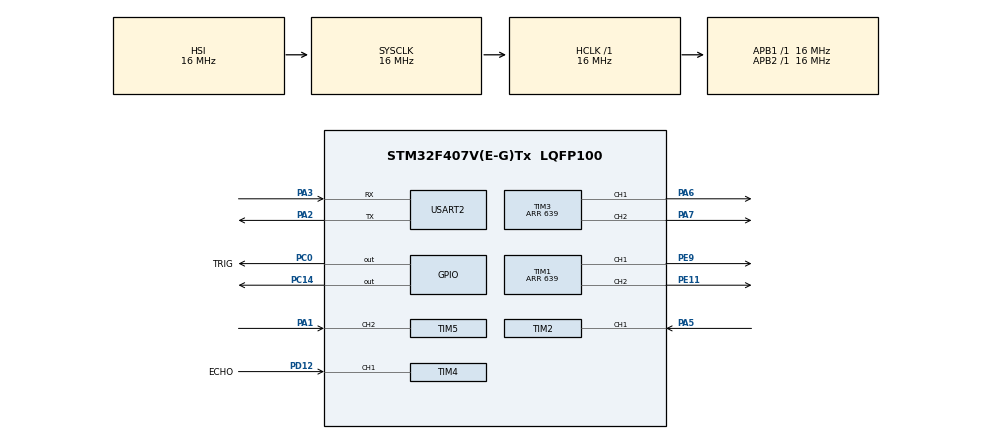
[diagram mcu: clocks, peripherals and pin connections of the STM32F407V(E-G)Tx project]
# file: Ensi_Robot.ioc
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Mcu.Family=STM32F4
Mcu.Name=STM32F407V(E-G)Tx
Mcu.Package=LQFP100
NVIC.PriorityGroup=NVIC_PRIORITYGROUP_4
NVIC.TIM2_IRQn=true\:0\:0\:false\:false\:true\:true\:true\:true
NVIC.TIM4_IRQn=true\:0\:0\:false\:false\:true\:true\:true\:true
NVIC.TIM5_IRQn=true\:0\:0\:false\:false\:true\:true\:true\:true
NVIC.TIM6_DAC_IRQn=true\:0\:0\:false\:false\:true\:true\:true\:true
PA1.Signal=S_TIM5_CH2
PA13.Mode=Serial_Wire
PA13.Signal=SYS_JTMS-SWDIO
PA14.Mode=Serial_Wire
PA14.Signal=SYS_JTCK-SWCLK
PA2.Mode=Asynchronous
PA2.Signal=USART2_TX
PA3.Mode=Asynchronous
PA3.Signal=USART2_RX
PA5.Signal=S_TIM2_CH1_ETR
PA6.Signal=S_TIM3_CH1
PA7.Signal=S_TIM3_CH2
PC0.GPIO_Label=TRIG
PC0.Signal=GPIO_Output
PC14-OSC32_IN.Signal=GPIO_Output
PD12.GPIO_Label=ECHO
PD12.Signal=S_TIM4_CH1
PE11.Signal=S_TIM1_CH2
PE5.Signal=S_TIM9_CH1
PE9.Signal=S_TIM1_CH1
ProjectManager.HeapSize=0x200
ProjectManager.StackSize=0x400
ProjectManager.TargetToolchain=STM32CubeIDE
RCC.AHBFreq_Value=16000000
RCC.APB1Freq_Value=16000000
RCC.APB2Freq_Value=16000000
RCC.CortexFreq_Value=16000000
RCC.HSE_VALUE=25000000
RCC.HSI_VALUE=16000000
RCC.LSE_VALUE=32768
RCC.SYSCLKFreq_VALUE=16000000
RCC.VCOOutputFreq_Value=192000000
SH.S_TIM1_CH1.0=TIM1_CH1,PWM Generation1 CH1
SH.S_TIM1_CH2.0=TIM1_CH2,PWM Generation2 CH2
SH.S_TIM2_CH1_ETR.0=TIM2_CH1,Input_Capture1_from_TI1
SH.S_TIM2_CH1_ETR.1=TIM2_CH1,TriggerSource_TI1FP1
SH.S_TIM3_CH1.0=TIM3_CH1,PWM Generation1 CH1
SH.S_TIM3_CH2.0=TIM3_CH2,PWM Generation2 CH2
SH.S_TIM4_CH1.0=TIM4_CH1,Input_Capture1_from_TI1
SH.S_TIM5_CH2.0=TIM5_CH2,TriggerSource_TI2FP2
SH.S_TIM5_CH2.1=TIM5_CH2,Input_Capture2_from_TI2
SH.S_TIM9_CH1.0=TIM9_CH1
TIM1.Channel-PWM\ Generation1\ CH1=TIM_CHANNEL_1
TIM1.Channel-PWM\ Generation2\ CH2=TIM_CHANNEL_2
TIM1.Period=639
TIM2.Channel-Input_Capture1_from_TI1=TIM_CHANNEL_1
TIM3.Channel-PWM\ Generation1\ CH1=TIM_CHANNEL_1
TIM3.Channel-PWM\ Generation2\ CH2=TIM_CHANNEL_2
TIM3.Period=639
TIM4.Channel-Input_Capture1_from_TI1=TIM_CHANNEL_1
TIM4.ICFilter_CH1=4
TIM4.ICPolarity_CH1=TIM_INPUTCHANNELPOLARITY_BOTHEDGE
TIM4.Period=0xffff-1
TIM4.Prescaler=16-1
TIM5.Channel-Input_Capture2_from_TI2=TIM_CHANNEL_2
TIM5.Period=4294967295
TIM6.Period=16000-1
TIM8.Period=0xffff-1
TIM8.Prescaler=16-1
USART2.VirtualMode=VM_ASYNC
VP_TIM1_VS_ClockSourceINT.Mode=Internal
VP_TIM2_VS_ClockSourceINT.Mode=Internal
VP_TIM2_VS_ControllerModeReset.Mode=Reset Mode
VP_TIM3_VS_ClockSourceINT.Mode=Internal
VP_TIM4_VS_ClockSourceINT.Mode=Internal
VP_TIM5_VS_ClockSourceINT.Mode=Internal
VP_TIM5_VS_ControllerModeReset.Mode=Reset Mode
VP_TIM6_VS_ClockSourceINT.Mode=Enable_Timer
VP_TIM8_VS_ClockSourceINT.Mode=Internal
board=custom

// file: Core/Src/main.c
/* USER CODE BEGIN Header */
/**
  ******************************************************************************
  * @file           : main.c
  * @brief          : Main program body
  ******************************************************************************
  * @attention
  *
  * Copyright (c) 2022 STMicroelectronics.
  * All rights reserved.
  *
  * This software is licensed under terms that can be found in the LICENSE file
  * in the root directory of this software component.
  * If no LICENSE file comes with this software, it is provided AS-IS.
  *
  ******************************************************************************
  */
/* USER CODE END Header */
#include "main.h"

/* USER CODE BEGIN Includes */
#include<string.h>
#include<stdio.h>
/* USER CODE END Includes */

/* USER CODE BEGIN PTD */
#define usTIM TIM8
void usDelay();
void calcul();
/* USER CODE END PTD */

/* USER CODE BEGIN PD */
#define SoundVelocity 340.0  // m/s

/* USER CODE END PD */

 TIM_HandleTypeDef htim1;
TIM_HandleTypeDef htim2;
TIM_HandleTypeDef htim3;
TIM_HandleTypeDef htim4;
TIM_HandleTypeDef htim5;
TIM_HandleTypeDef htim6;
TIM_HandleTypeDef htim8;

UART_HandleTypeDef huart2;

/* USER CODE BEGIN PV */
// ultrason

volatile uint32_t * ccr =NULL;

int32_t TicksRight=0;
int32_t TicksLeft=0;

int32_t ticks_Counter=0;
int32_t tick_Counter_right=0;
double tick_Period_right=0.0;
double tick_Velocity_right=0.0;
int i=0;

double consigne_right = 1.5 ;
double consigne_left = 1.65;
double te=1.0/1000.0 ;
double integral_right = 0.0 ;
double derive_right = 0.0;
double ki_right =150;
double kp_right= 2.5;
double kd_right = 1.0;
double voltage_right =0.0;
double tick_Velocity_Filtered_Prev_right=0.0;
double tick_Velocity_Filtered_right=0.0;
double a=0.998;
double b=0.001998;
double error_right=0.0;
double error_previous_right = 0.0 ;
double tick_Velocity_Prev_right=0.0;

int32_t tick_counter_left=0;
double tick_period_left=0.0;
double tick_velocity_left=0.0;

double integral_left = 0.0 ;
double derive_left = 0.0;
double ki_left =50;
double kp_left= 20.0 ;
double kd_left = 0.0 ;
double voltage_left =0.0;
double tick_Velocity_Filtered_Prev_left=0.0;
double tick_Velocity_Filtered_left=0.0;
double error_left=0;
double error_prev_left = 0 ;
double tick_vfelocity_prev_left=0.0;
double difference=0.0;
int32_t x = 0 ;
uint32_t c;
/* USER CODE END PV */

void SystemClock_Config(void);
static void MX_GPIO_Init(void);
static void MX_TIM1_Init(void);
static void MX_TIM2_Init(void);
static void MX_TIM6_Init(void);
static void MX_TIM5_Init(void);
static void MX_TIM3_Init(void);
static void MX_TIM4_Init(void);
static void MX_TIM8_Init(void);
static void MX_USART2_UART_Init(void);
/* USER CODE BEGIN PFP */
void GetDistance();
void asservissement_vitesse_moteur_right ();
void asservissement_vitesse_moteur_left ()  ;
/* USER CODE END PFP */

/* USER CODE BEGIN 0 */
volatile uint32_t * ccr1= NULL;
int32_t OK = 0  ;
int32_t position = 0 ;
//ultrason
const float speedOfSound = 0.0343/2;
float distance=0;
GPIO_TypeDef* TRIG_GPIO_Port1 = GPIOC;
uint16_t TRIG_Pin1 = GPIO_PIN_0;
GPIO_TypeDef* ECHO_GPIO_Port1 = GPIOD;
uint16_t ECHO_Pin1 = GPIO_PIN_12;
int numticks = 0;
char uartBuf[100];
int edge2Time,edge1Time,icFlag=0,captureIdx;
int used;

void read_distance(){
	  numticks = 0;
	//Set TRIG to LOW for few uSec
	HAL_GPIO_WritePin(GPIOC, 0, GPIO_PIN_RESET);
	usDelay(3);

	//*** START Ultrasonic measure routine ***//
	//1. Output 10 usec TRIG
	HAL_GPIO_WritePin(GPIOC,  0, GPIO_PIN_SET);
	usDelay(10);
	HAL_GPIO_WritePin(GPIOC,  0, GPIO_PIN_RESET);

	//2. Wait for ECHO pin rising edge
	while(HAL_GPIO_ReadPin(GPIOD, 12) == GPIO_PIN_RESET);

	//3. Start measuring ECHO pulse width in usec
	numticks = 0;
	while(HAL_GPIO_ReadPin(GPIOD, 12) == GPIO_PIN_SET)
	{
		numticks++;
		usDelay(1); //2.8usec
	};

	//4. Estimate distance in cm
	distance =(int) (numticks + 0.0f)*2.8*speedOfSound;
}

void avance ()
{
	HAL_TIM_PWM_Start(&htim3, TIM_CHANNEL_1)  ;
	HAL_TIM_PWM_Start(&htim1, TIM_CHANNEL_1) ;
}
void stop ()
{
	HAL_TIM_PWM_Stop(&htim3, TIM_CHANNEL_1)  ;
	HAL_TIM_PWM_Stop(&htim1, TIM_CHANNEL_1) ;

}

void trun_Right(){
	HAL_TIM_PWM_Start(&htim1, TIM_CHANNEL_1) ;
	HAL_TIM_PWM_Stop(&htim3, TIM_CHANNEL_1)  ;
}

void HAL_TIM_IC_CaptureCallback(TIM_HandleTypeDef *htim){

	if(htim==&htim2){

		TicksLeft++ ;
	}

	if(htim==&htim5){

		TicksRight++;
	}
	used++;
			if(captureIdx == 0) //Fisrt edge
			{
				edge1Time = HAL_TIM_ReadCapturedValue(htim, TIM_CHANNEL_1); //__HAL_TIM_GetCounter(&htim3);//

				captureIdx = 1;
			}
			else if(captureIdx == 1) //Second edge
			{
				edge2Time = HAL_TIM_ReadCapturedValue(htim, TIM_CHANNEL_1);
				captureIdx = 0;
				icFlag = 1;
			}

//	if(htim==&htim5){

//		TicksRight++;
//		if(TicksRight==201){
//			 HAL_TIM_PWM_Stop(&htim1, TIM_CHANNEL_1) ;

//		}
//	}

}

void HAL_TIM_PeriodElapsedCallback(TIM_HandleTypeDef *htim){

	if(htim==&htim6)

	{
 if( TIM5->CCR2 >0)

 {  tick_Counter_right=(1+ TIM5->CCR2);
		  tick_Period_right= (tick_Counter_right ) *(1/16000000.0);
		  tick_Velocity_right=1.0/(102.0*tick_Period_right);

 }

 else tick_Velocity_right=0.0;

 if (TIM2->CCR1 >0)
 {
	 tick_counter_left = (1+TIM2->CCR1) ;
	 tick_period_left = tick_counter_left*(1/16000000.0) ;
	 tick_velocity_left = 1.0/(376.0*tick_period_left) ;

 }

	}

	 asservissement_vitesse_moteur_right();
	 asservissement_vitesse_moteur_left () ;
	 difference=tick_Velocity_right-tick_velocity_left;

	/*tick_Velocity_Filtered=a*tick_Velocity_Filtered_Prev+b*tick_Velocity_Prev;
	tick_Velocity_Filtered_Prev=tick_Velocity_Filtered;
	tick_Velocity_Prev=tick_Velocity;*/

}
void asservissement_vitesse_moteur_right ()
{

	error_right=consigne_right-tick_Velocity_right ;
	integral_right= integral_right + error_right*te ;
	derive_right=(error_right-error_previous_right)/te ;
	error_previous_right=error_right;

	voltage_right= kp_right*error_right+ki_right*integral_right+kd_right*derive_right;
//	voltage_right=12;
	if(voltage_right <0.0)voltage_right=0.0;
	if(voltage_right >12.0 )voltage_right=12.0;

    TIM1->CCR1=(uint32_t)((voltage_right/12.0)*(TIM1->ARR));

}
void asservissement_vitesse_moteur_left ()
{
	error_left = consigne_left-tick_velocity_left ;
	integral_left = integral_left+error_left*te ;
	derive_left = (error_left - error_prev_left)/te ;
	voltage_left = kp_left*error_left + ki_left*integral_left + kd_left*derive_left ;
//	voltage_left=12;
	if(voltage_left <0.0)voltage_left=0.0;
	if(voltage_left >12.0 )voltage_left=12.0;

	TIM3->CCR1 = (uint32_t) ((TIM3->ARR)*(voltage_left/12.0)) ;

}

void initialisation(){
	  error_right=0.0;
	  error_previous_right = 0.0 ;
	  tick_Velocity_Prev_right=0.0;
	  integral_right = 0.0;
	  derive_right = 0.0;
	  voltage_right =0.0;
	  tick_Velocity_right=0.0;
	  tick_Period_right=0.0;

	  error_left=0;
	  error_prev_left = 0 ;
	  integral_left = 0.0 ;
	  derive_left = 0.0;
	  voltage_left =0.0;
	  tick_velocity_left=0.0;
	  tick_period_left=0.0;
	  tick_vfelocity_prev_left=0.0;
}

void clignoter_led(){
	for(int j=1;j<=13;j++){
	HAL_GPIO_WritePin(GPIOC, GPIO_PIN_14, GPIO_PIN_SET);
	HAL_Delay(100);
	HAL_GPIO_WritePin(GPIOC, GPIO_PIN_14, GPIO_PIN_RESET);
	HAL_Delay(100);
	}
}

void stop_beb(){
	  stop();
	  HAL_Delay(10);
	  for(int i=0;i<10;i++){
	  calcul();
	  HAL_Delay(10);
	  }
	  if(distance>15){
		  stop();
		  clignoter_led();

	  }
}

/* USER CODE END 0 */

int main(void)
{

  /* MCU Configuration--------------------------------------------------------*/

  /* Reset of all peripherals, Initializes the Flash interface and the Systick. */
  HAL_Init();

  /* Configure the system clock */
  SystemClock_Config();

  /* Initialize all configured peripherals */
  MX_GPIO_Init();
  MX_TIM1_Init();
  MX_TIM2_Init();
  MX_TIM6_Init();
  MX_TIM5_Init();
  MX_TIM3_Init();
  MX_TIM4_Init();
  MX_TIM8_Init();
  MX_USART2_UART_Init();
  /* USER CODE BEGIN 2 */
 HAL_TIM_IC_Start_IT(&htim2, TIM_CHANNEL_1) ;
 HAL_TIM_IC_Start_IT(&htim5, TIM_CHANNEL_2) ;
 HAL_TIM_Base_Start_IT(&htim6) ;
 HAL_TIM_PWM_Start(&htim1, TIM_CHANNEL_1) ;
 HAL_TIM_PWM_Start(&htim3, TIM_CHANNEL_1)  ;
// HAL_TIM_Encoder_Start(&htim4, TIM_CHANNEL_1);
// HAL_TIM_Encoder_Start(&htim4, TIM_CHANNEL_2);
// HAL_TIM_Encoder_Start(&htim8, TIM_CHANNEL_1);
// HAL_TIM_Encoder_Start(&htim8, TIM_CHANNEL_2);

  /* USER CODE END 2 */

  /* Infinite loop */
  while (1)
  {

    /* USER CODE BEGIN 3 */
//	  GetDistance();
	  initialisation();
	  while(TicksLeft < 711){
		  avance () ;

	  }
	  stop_beb();

	  initialisation();

	  while((TicksLeft > 711)&&(TicksLeft < 1215)){
		  avance () ;
	  }
	  stop_beb();

	  initialisation();

	  while((TicksLeft > 1215)&&(TicksLeft < 1755)){
		  avance () ;
	  }
	  stop_beb();
	  initialisation();
	  while((TicksLeft > 1755)&&(TicksLeft < 2196)){
		  avance () ;
	  }
	  stop();
	  HAL_Delay(6000);
	  initialisation();
	  while((TicksLeft > 2196)&&(TicksLeft < 3708)){
		  avance () ;
	  }
	//  stop();
	  initialisation();
	  while(TicksRight<1250){
		  trun_Right();
	  }
	//  stop();
	  initialisation();
      avance();
      HAL_Delay(1500);
      trun_Right();
      HAL_Delay(200);
      stop();

  }
  /* USER CODE END 3 */
}

void SystemClock_Config(void)
{
  RCC_OscInitTypeDef RCC_OscInitStruct = {0};
  RCC_ClkInitTypeDef RCC_ClkInitStruct = {0};

  /** Configure the main internal regulator output voltage
  */
  __HAL_RCC_PWR_CLK_ENABLE();
  __HAL_PWR_VOLTAGESCALING_CONFIG(PWR_REGULATOR_VOLTAGE_SCALE1);

  /** Initializes the RCC Oscillators according to the specified parameters
  * in the RCC_OscInitTypeDef structure.
  */
  RCC_OscInitStruct.OscillatorType = RCC_OSCILLATORTYPE_HSI;
  RCC_OscInitStruct.HSIState = RCC_HSI_ON;
  RCC_OscInitStruct.HSICalibrationValue = RCC_HSICALIBRATION_DEFAULT;
  RCC_OscInitStruct.PLL.PLLState = RCC_PLL_NONE;
  if (HAL_RCC_OscConfig(&RCC_OscInitStruct) != HAL_OK)
  {
    Error_Handler();
  }

  /** Initializes the CPU, AHB and APB buses clocks
  */
  RCC_ClkInitStruct.ClockType = RCC_CLOCKTYPE_HCLK|RCC_CLOCKTYPE_SYSCLK
                              |RCC_CLOCKTYPE_PCLK1|RCC_CLOCKTYPE_PCLK2;
  RCC_ClkInitStruct.SYSCLKSource = RCC_SYSCLKSOURCE_HSI;
  RCC_ClkInitStruct.AHBCLKDivider = RCC_SYSCLK_DIV1;
  RCC_ClkInitStruct.APB1CLKDivider = RCC_HCLK_DIV1;
  RCC_ClkInitStruct.APB2CLKDivider = RCC_HCLK_DIV1;

  if (HAL_RCC_ClockConfig(&RCC_ClkInitStruct, FLASH_LATENCY_0) != HAL_OK)
  {
    Error_Handler();
  }
}

static void MX_TIM1_Init(void)
{

  TIM_ClockConfigTypeDef sClockSourceConfig = {0};
  TIM_MasterConfigTypeDef sMasterConfig = {0};
  TIM_OC_InitTypeDef sConfigOC = {0};
  TIM_BreakDeadTimeConfigTypeDef sBreakDeadTimeConfig = {0};

  htim1.Instance = TIM1;
  htim1.Init.Prescaler = 0;
  htim1.Init.CounterMode = TIM_COUNTERMODE_UP;
  htim1.Init.Period = 639;
  htim1.Init.ClockDivision = TIM_CLOCKDIVISION_DIV1;
  htim1.Init.RepetitionCounter = 0;
  htim1.Init.AutoReloadPreload = TIM_AUTORELOAD_PRELOAD_DISABLE;
  if (HAL_TIM_Base_Init(&htim1) != HAL_OK)
  {
    Error_Handler();
  }
  sClockSourceConfig.ClockSource = TIM_CLOCKSOURCE_INTERNAL;
  if (HAL_TIM_ConfigClockSource(&htim1, &sClockSourceConfig) != HAL_OK)
  {
    Error_Handler();
  }
  if (HAL_TIM_PWM_Init(&htim1) != HAL_OK)
  {
    Error_Handler();
  }
  sMasterConfig.MasterOutputTrigger = TIM_TRGO_RESET;
  sMasterConfig.MasterSlaveMode = TIM_MASTERSLAVEMODE_DISABLE;
  if (HAL_TIMEx_MasterConfigSynchronization(&htim1, &sMasterConfig) != HAL_OK)
  {
    Error_Handler();
  }
  sConfigOC.OCMode = TIM_OCMODE_PWM1;
  sConfigOC.Pulse = 0;
  sConfigOC.OCPolarity = TIM_OCPOLARITY_HIGH;
  sConfigOC.OCNPolarity = TIM_OCNPOLARITY_HIGH;
  sConfigOC.OCFastMode = TIM_OCFAST_DISABLE;
  sConfigOC.OCIdleState = TIM_OCIDLESTATE_RESET;
  sConfigOC.OCNIdleState = TIM_OCNIDLESTATE_RESET;
  if (HAL_TIM_PWM_ConfigChannel(&htim1, &sConfigOC, TIM_CHANNEL_1) != HAL_OK)
  {
    Error_Handler();
  }
  if (HAL_TIM_PWM_ConfigChannel(&htim1, &sConfigOC, TIM_CHANNEL_2) != HAL_OK)
  {
    Error_Handler();
  }
  sBreakDeadTimeConfig.OffStateRunMode = TIM_OSSR_DISABLE;
  sBreakDeadTimeConfig.OffStateIDLEMode = TIM_OSSI_DISABLE;
  sBreakDeadTimeConfig.LockLevel = TIM_LOCKLEVEL_OFF;
  sBreakDeadTimeConfig.DeadTime = 0;
  sBreakDeadTimeConfig.BreakState = TIM_BREAK_DISABLE;
  sBreakDeadTimeConfig.BreakPolarity = TIM_BREAKPOLARITY_HIGH;
  sBreakDeadTimeConfig.AutomaticOutput = TIM_AUTOMATICOUTPUT_DISABLE;
  if (HAL_TIMEx_ConfigBreakDeadTime(&htim1, &sBreakDeadTimeConfig) != HAL_OK)
  {
    Error_Handler();
  }
  HAL_TIM_MspPostInit(&htim1);

}

static void MX_TIM2_Init(void)
{

  TIM_ClockConfigTypeDef sClockSourceConfig = {0};
  TIM_SlaveConfigTypeDef sSlaveConfig = {0};
  TIM_MasterConfigTypeDef sMasterConfig = {0};
  TIM_IC_InitTypeDef sConfigIC = {0};

  htim2.Instance = TIM2;
  htim2.Init.Prescaler = 0;
  htim2.Init.CounterMode = TIM_COUNTERMODE_UP;
  htim2.Init.Period = 4294967295;
  htim2.Init.ClockDivision = TIM_CLOCKDIVISION_DIV1;
  htim2.Init.AutoReloadPreload = TIM_AUTORELOAD_PRELOAD_DISABLE;
  if (HAL_TIM_Base_Init(&htim2) != HAL_OK)
  {
    Error_Handler();
  }
  sClockSourceConfig.ClockSource = TIM_CLOCKSOURCE_INTERNAL;
  if (HAL_TIM_ConfigClockSource(&htim2, &sClockSourceConfig) != HAL_OK)
  {
    Error_Handler();
  }
  if (HAL_TIM_IC_Init(&htim2) != HAL_OK)
  {
    Error_Handler();
  }
  sSlaveConfig.SlaveMode = TIM_SLAVEMODE_RESET;
  sSlaveConfig.InputTrigger = TIM_TS_TI1FP1;
  sSlaveConfig.TriggerPolarity = TIM_INPUTCHANNELPOLARITY_RISING;
  sSlaveConfig.TriggerFilter = 0;
  if (HAL_TIM_SlaveConfigSynchro(&htim2, &sSlaveConfig) != HAL_OK)
  {
    Error_Handler();
  }
  sMasterConfig.MasterOutputTrigger = TIM_TRGO_RESET;
  sMasterConfig.MasterSlaveMode = TIM_MASTERSLAVEMODE_DISABLE;
  if (HAL_TIMEx_MasterConfigSynchronization(&htim2, &sMasterConfig) != HAL_OK)
  {
    Error_Handler();
  }
  sConfigIC.ICPolarity = TIM_INPUTCHANNELPOLARITY_RISING;
  sConfigIC.ICSelection = TIM_ICSELECTION_DIRECTTI;
  sConfigIC.ICPrescaler = TIM_ICPSC_DIV1;
  sConfigIC.ICFilter = 0;
  if (HAL_TIM_IC_ConfigChannel(&htim2, &sConfigIC, TIM_CHANNEL_1) != HAL_OK)
  {
    Error_Handler();
  }

}

static void MX_TIM3_Init(void)
{

  TIM_ClockConfigTypeDef sClockSourceConfig = {0};
  TIM_MasterConfigTypeDef sMasterConfig = {0};
  TIM_OC_InitTypeDef sConfigOC = {0};

  htim3.Instance = TIM3;
  htim3.Init.Prescaler = 0;
  htim3.Init.CounterMode = TIM_COUNTERMODE_UP;
  htim3.Init.Period = 639;
  htim3.Init.ClockDivision = TIM_CLOCKDIVISION_DIV1;
  htim3.Init.AutoReloadPreload = TIM_AUTORELOAD_PRELOAD_DISABLE;
  if (HAL_TIM_Base_Init(&htim3) != HAL_OK)
  {
    Error_Handler();
  }
  sClockSourceConfig.ClockSource = TIM_CLOCKSOURCE_INTERNAL;
  if (HAL_TIM_ConfigClockSource(&htim3, &sClockSourceConfig) != HAL_OK)
  {
    Error_Handler();
  }
  if (HAL_TIM_PWM_Init(&htim3) != HAL_OK)
  {
    Error_Handler();
  }
  sMasterConfig.MasterOutputTrigger = TIM_TRGO_RESET;
  sMasterConfig.MasterSlaveMode = TIM_MASTERSLAVEMODE_DISABLE;
  if (HAL_TIMEx_MasterConfigSynchronization(&htim3, &sMasterConfig) != HAL_OK)
  {
    Error_Handler();
  }
  sConfigOC.OCMode = TIM_OCMODE_PWM1;
  sConfigOC.Pulse = 0;
  sConfigOC.OCPolarity = TIM_OCPOLARITY_HIGH;
  sConfigOC.OCFastMode = TIM_OCFAST_DISABLE;
  if (HAL_TIM_PWM_ConfigChannel(&htim3, &sConfigOC, TIM_CHANNEL_1) != HAL_OK)
  {
    Error_Handler();
  }
  if (HAL_TIM_PWM_ConfigChannel(&htim3, &sConfigOC, TIM_CHANNEL_2) != HAL_OK)
  {
    Error_Handler();
  }
  HAL_TIM_MspPostInit(&htim3);

}

static void MX_TIM4_Init(void)
{

  TIM_ClockConfigTypeDef sClockSourceConfig = {0};
  TIM_MasterConfigTypeDef sMasterConfig = {0};
  TIM_IC_InitTypeDef sConfigIC = {0};

  htim4.Instance = TIM4;
  htim4.Init.Prescaler = 16-1;
  htim4.Init.CounterMode = TIM_COUNTERMODE_UP;
  htim4.Init.Period = 0xffff-1;
  htim4.Init.ClockDivision = TIM_CLOCKDIVISION_DIV1;
  htim4.Init.AutoReloadPreload = TIM_AUTORELOAD_PRELOAD_DISABLE;
  if (HAL_TIM_Base_Init(&htim4) != HAL_OK)
  {
    Error_Handler();
  }
  sClockSourceConfig.ClockSource = TIM_CLOCKSOURCE_INTERNAL;
  if (HAL_TIM_ConfigClockSource(&htim4, &sClockSourceConfig) != HAL_OK)
  {
    Error_Handler();
  }
  if (HAL_TIM_IC_Init(&htim4) != HAL_OK)
  {
    Error_Handler();
  }
  sMasterConfig.MasterOutputTrigger = TIM_TRGO_RESET;
  sMasterConfig.MasterSlaveMode = TIM_MASTERSLAVEMODE_DISABLE;
  if (HAL_TIMEx_MasterConfigSynchronization(&htim4, &sMasterConfig) != HAL_OK)
  {
    Error_Handler();
  }
  sConfigIC.ICPolarity = TIM_INPUTCHANNELPOLARITY_BOTHEDGE;
  sConfigIC.ICSelection = TIM_ICSELECTION_DIRECTTI;
  sConfigIC.ICPrescaler = TIM_ICPSC_DIV1;
  sConfigIC.ICFilter = 4;
  if (HAL_TIM_IC_ConfigChannel(&htim4, &sConfigIC, TIM_CHANNEL_1) != HAL_OK)
  {
    Error_Handler();
  }

}

static void MX_TIM5_Init(void)
{

  TIM_ClockConfigTypeDef sClockSourceConfig = {0};
  TIM_SlaveConfigTypeDef sSlaveConfig = {0};
  TIM_MasterConfigTypeDef sMasterConfig = {0};
  TIM_IC_InitTypeDef sConfigIC = {0};

  htim5.Instance = TIM5;
  htim5.Init.Prescaler = 0;
  htim5.Init.CounterMode = TIM_COUNTERMODE_UP;
  htim5.Init.Period = 4294967295;
  htim5.Init.ClockDivision = TIM_CLOCKDIVISION_DIV1;
  htim5.Init.AutoReloadPreload = TIM_AUTORELOAD_PRELOAD_DISABLE;
  if (HAL_TIM_Base_Init(&htim5) != HAL_OK)
  {
    Error_Handler();
  }
  sClockSourceConfig.ClockSource = TIM_CLOCKSOURCE_INTERNAL;
  if (HAL_TIM_ConfigClockSource(&htim5, &sClockSourceConfig) != HAL_OK)
  {
    Error_Handler();
  }
  if (HAL_TIM_IC_Init(&htim5) != HAL_OK)
  {
    Error_Handler();
  }
  sSlaveConfig.SlaveMode = TIM_SLAVEMODE_RESET;
  sSlaveConfig.InputTrigger = TIM_TS_TI2FP2;
  sSlaveConfig.TriggerPolarity = TIM_INPUTCHANNELPOLARITY_RISING;
  sSlaveConfig.TriggerFilter = 0;
  if (HAL_TIM_SlaveConfigSynchro(&htim5, &sSlaveConfig) != HAL_OK)
  {
    Error_Handler();
  }
  sMasterConfig.MasterOutputTrigger = TIM_TRGO_RESET;
  sMasterConfig.MasterSlaveMode = TIM_MASTERSLAVEMODE_DISABLE;
  if (HAL_TIMEx_MasterConfigSynchronization(&htim5, &sMasterConfig) != HAL_OK)
  {
    Error_Handler();
  }
  sConfigIC.ICPolarity = TIM_INPUTCHANNELPOLARITY_RISING;
  sConfigIC.ICSelection = TIM_ICSELECTION_DIRECTTI;
  sConfigIC.ICPrescaler = TIM_ICPSC_DIV1;
  sConfigIC.ICFilter = 0;
  if (HAL_TIM_IC_ConfigChannel(&htim5, &sConfigIC, TIM_CHANNEL_2) != HAL_OK)
  {
    Error_Handler();
  }

}

static void MX_TIM6_Init(void)
{

  TIM_MasterConfigTypeDef sMasterConfig = {0};

  htim6.Instance = TIM6;
  htim6.Init.Prescaler = 0;
  htim6.Init.CounterMode = TIM_COUNTERMODE_UP;
  htim6.Init.Period = 16000-1;
  htim6.Init.AutoReloadPreload = TIM_AUTORELOAD_PRELOAD_DISABLE;
  if (HAL_TIM_Base_Init(&htim6) != HAL_OK)
  {
    Error_Handler();
  }
  sMasterConfig.MasterOutputTrigger = TIM_TRGO_RESET;
  sMasterConfig.MasterSlaveMode = TIM_MASTERSLAVEMODE_DISABLE;
  if (HAL_TIMEx_MasterConfigSynchronization(&htim6, &sMasterConfig) != HAL_OK)
  {
    Error_Handler();
  }

}

static void MX_TIM8_Init(void)
{

  TIM_ClockConfigTypeDef sClockSourceConfig = {0};
  TIM_MasterConfigTypeDef sMasterConfig = {0};

  htim8.Instance = TIM8;
  htim8.Init.Prescaler = 16-1;
  htim8.Init.CounterMode = TIM_COUNTERMODE_UP;
  htim8.Init.Period = 0xffff-1;
  htim8.Init.ClockDivision = TIM_CLOCKDIVISION_DIV1;
  htim8.Init.RepetitionCounter = 0;
  htim8.Init.AutoReloadPreload = TIM_AUTORELOAD_PRELOAD_DISABLE;
  if (HAL_TIM_Base_Init(&htim8) != HAL_OK)
  {
    Error_Handler();
  }
  sClockSourceConfig.ClockSource = TIM_CLOCKSOURCE_INTERNAL;
  if (HAL_TIM_ConfigClockSource(&htim8, &sClockSourceConfig) != HAL_OK)
  {
    Error_Handler();
  }
  sMasterConfig.MasterOutputTrigger = TIM_TRGO_RESET;
  sMasterConfig.MasterSlaveMode = TIM_MASTERSLAVEMODE_DISABLE;
  if (HAL_TIMEx_MasterConfigSynchronization(&htim8, &sMasterConfig) != HAL_OK)
  {
    Error_Handler();
  }

}

static void MX_USART2_UART_Init(void)
{

  huart2.Instance = USART2;
  huart2.Init.BaudRate = 115200;
  huart2.Init.WordLength = UART_WORDLENGTH_8B;
  huart2.Init.StopBits = UART_STOPBITS_1;
  huart2.Init.Parity = UART_PARITY_NONE;
  huart2.Init.Mode = UART_MODE_TX_RX;
  huart2.Init.HwFlowCtl = UART_HWCONTROL_NONE;
  huart2.Init.OverSampling = UART_OVERSAMPLING_16;
  if (HAL_UART_Init(&huart2) != HAL_OK)
  {
    Error_Handler();
  }

}

static void MX_GPIO_Init(void)
{
  GPIO_InitTypeDef GPIO_InitStruct = {0};

  /* GPIO Ports Clock Enable */
  __HAL_RCC_GPIOE_CLK_ENABLE();
  __HAL_RCC_GPIOC_CLK_ENABLE();
  __HAL_RCC_GPIOA_CLK_ENABLE();
  __HAL_RCC_GPIOD_CLK_ENABLE();

  /*Configure GPIO pin Output Level */
  HAL_GPIO_WritePin(GPIOC, GPIO_PIN_14|TRIG_Pin, GPIO_PIN_RESET);

  /*Configure GPIO pin : PE5 */
  GPIO_InitStruct.Pin = GPIO_PIN_5;
  GPIO_InitStruct.Mode = GPIO_MODE_AF_PP;
  GPIO_InitStruct.Pull = GPIO_NOPULL;
  GPIO_InitStruct.Speed = GPIO_SPEED_FREQ_LOW;
  GPIO_InitStruct.Alternate = GPIO_AF3_TIM9;
  HAL_GPIO_Init(GPIOE, &GPIO_InitStruct);

  /*Configure GPIO pins : PC14 TRIG_Pin */
  GPIO_InitStruct.Pin = GPIO_PIN_14|TRIG_Pin;
  GPIO_InitStruct.Mode = GPIO_MODE_OUTPUT_PP;
  GPIO_InitStruct.Pull = GPIO_NOPULL;
  GPIO_InitStruct.Speed = GPIO_SPEED_FREQ_LOW;
  HAL_GPIO_Init(GPIOC, &GPIO_InitStruct);

}

/* USER CODE BEGIN 4 */
void calcul(){
			HAL_GPIO_WritePin(TRIG_GPIO_Port1, TRIG_Pin1, GPIO_PIN_RESET);
		  	  usDelay(3);

		  	  HAL_GPIO_WritePin(TRIG_GPIO_Port1, TRIG_Pin1, GPIO_PIN_SET);
		  	  usDelay(10);
		  	  HAL_GPIO_WritePin(TRIG_GPIO_Port1, TRIG_Pin1, GPIO_PIN_RESET);
		  	  //Start IC timer
		  	  		HAL_TIM_IC_Start_IT(&htim4, TIM_CHANNEL_1);
		  	  		//Wait for IC flag
		  	  		uint32_t startTick = HAL_GetTick();
		  	  		do
		  	  		{
		  	  			if(icFlag) break;
		  	  		}while((HAL_GetTick() - startTick) < 500);  //500ms
		  	  		icFlag = 0;
		  	  		HAL_TIM_IC_Stop_IT(&htim4, TIM_CHANNEL_1);

		  	  		//Calculate distance in cm
		  	  		if(edge2Time > edge1Time)
		  	  		{
		  	  			distance = ((edge2Time - edge1Time) + 0.0f)*speedOfSound;
		  	  		}
		  	  		else
		  	  		{
		  	  			distance = 0.0f;
		  	  		}}

void usDelay(uint32_t uSec)
{
	if(uSec < 2) uSec = 2;
	usTIM->ARR = uSec - 1; 	/*sets the value in the auto-reload register*/
	usTIM->EGR = 1; 			/*Re-initialises the timer*/
	usTIM->SR &= ~1; 		//Resets the flag
	usTIM->CR1 |= 1; 		//Enables the counter
	while((usTIM->SR&0x0001) != 1);
	usTIM->SR &= ~(0x0001);
}

/* USER CODE END 4 */

void Error_Handler(void)
{
  __disable_irq();
  while (1)
  {
  }
}
